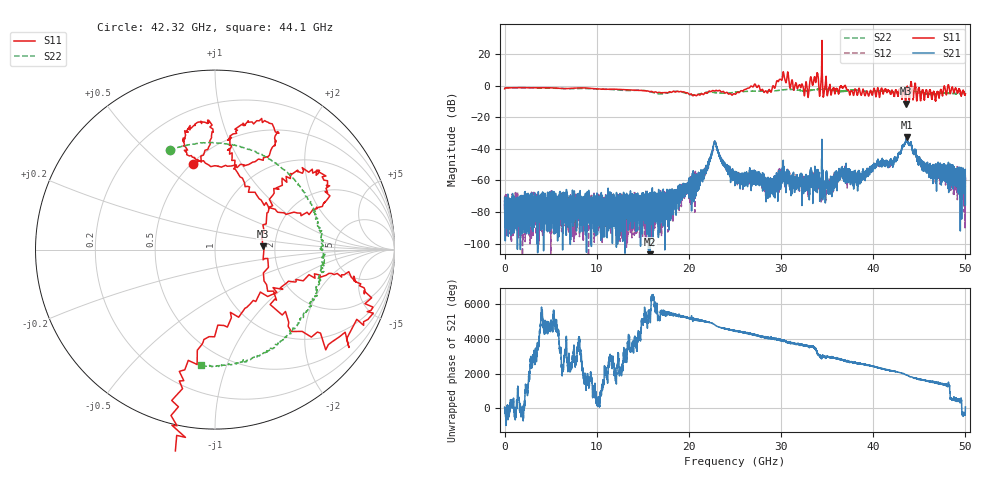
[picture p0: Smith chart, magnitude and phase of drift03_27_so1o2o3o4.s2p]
!Created with skrf (http://scikit-rf.org).
# Hz S RI R 50.0
!freq ReS11 ImS11 ReS21 ImS21 ReS12 ImS12 ReS22 ImS22
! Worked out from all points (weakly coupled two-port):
!   10000 points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, 5.3 MHz to 50 GHz, reference 50 ohm
!   highest |S21| = -32.69 dB at 43.64 GHz (marker M1); lowest = -116.5 dB at 15.8 GHz (marker M2)
!   lowest |S11| = -11.5 dB at 43.52 GHz (marker M3), VSWR 1.73, Z = 86.1 + j3.52 ohm
!   |S11| at or under -10 dB: 43.49075 GHz to 43.55352 GHz (62.77 MHz wide, 0.144 % of centre)
!   |S22| runs from -5.9 to -1.3 dB; largest |S21 - S12| = 0.0082
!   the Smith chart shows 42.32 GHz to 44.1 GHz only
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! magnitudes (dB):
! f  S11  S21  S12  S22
! 5.3 MHz  -2.1  -72.9  -78.5  -2.1
! 8.34 GHz  -1.5  -76.1  -79.0  -1.9
! 15.8 GHz  -3.9  -116.5  -78.1  -3.9
! 16.67 GHz  -4.4  -71.0  -72.2  -5.2
! 21.03 GHz  -5.6  -56.2  -61.4  -5.5
! 21.99 GHz  -4.9  -52.0  -51.9  -4.3
! 22.82 GHz  -3.4  -35.4  -35.5  -4.5
! 25.01 GHz  -5.5  -57.8  -57.3  -4.3
! 27.01 GHz  -0.5  -60.0  -58.1  -3.6
! 28.87 GHz  -4.0  -62.2  -63.1  -3.5
! 30.14 GHz  4.4  -57.3  -57.2  -2.8
! 32.74 GHz  2.0  -65.3  -59.1  -3.4
! 33.34 GHz  2.5  -56.1  -57.2  -2.9
! 33.82 GHz  4.3  -60.7  -60.6  -2.5
! 34.81 GHz  0.9  -74.2  -64.4  -2.4
! 36.48 GHz  -0.5  -54.9  -55.5  -3.8
! 38.44 GHz  -1.8  -53.6  -56.1  -3.0
! 41.67 GHz  -3.1  -49.8  -50.7  -3.7
! 43.52 GHz  -11.5  -35.2  -35.6  -4.3
! 43.64 GHz  -1.6  -32.7  -33.3  -4.0
! 46.32 GHz  -7.3  -54.1  -54.2  -5.5
! 50 GHz  -5.2  -58.5  -60.7  -4.9
